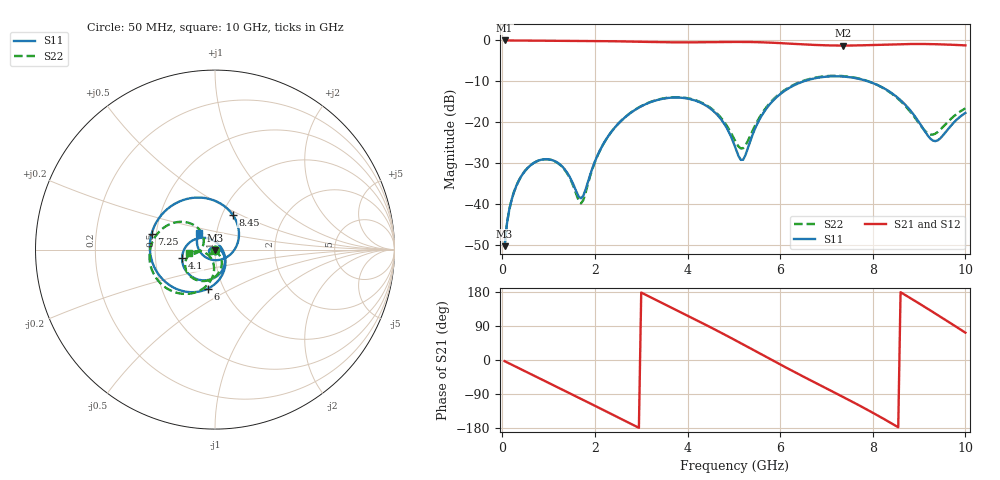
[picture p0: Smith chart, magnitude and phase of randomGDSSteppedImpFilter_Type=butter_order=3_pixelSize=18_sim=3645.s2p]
! freq	dB(S11)	phase(S11)	dB(S12)	phase(S12)
!  dB(S21)	phase(S21)	dB(S22)	phase(S22)
!S-par simulation data
#  GHz  S  DB  R 50
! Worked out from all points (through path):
!   200 points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, 50 MHz to 10 GHz, reference 50 ohm
!   highest |S21| = -0.01 dB at 50 MHz (marker M1); lowest = -1.3 dB at 7.35 GHz (marker M2)
!   group delay of S21, straight-line fit = 177 ps
!   lowest |S11| = -50.3 dB at 50 MHz (marker M3), VSWR 1.01, Z = 50 - j0.302 ohm
!   |S11| at or under -10 dB: start of sweep to 6.507 GHz; 7.897 GHz to end of sweep
!   |S22| runs from -50.3 to -8.6 dB; largest |S21 - S12| = 0
!   S11 on the Smith chart (normalised r, x): 50 MHz: 1.00, -0.01; 4.1 GHz: 0.69, -0.07; 6 GHz: 0.84, -0.39; 7.25 GHz: 0.47, +0.10; 8.45 GHz: 1.12, +0.46; 10 GHz: 0.82, +0.16
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0.05  -50.29 -80.5  -0.01 -3.1  -0.01 -3.1  -50.26 -79.9
0.25  -37.13 -105.0  -0.03 -15.1  -0.03 -15.1  -37.10 -101.7
0.7  -29.80 -137.7  -0.06 -42.3  -0.06 -42.3  -29.80 -127.7
1.2  -29.93 -176.7  -0.09 -72.3  -0.09 -72.3  -29.99 -150.7
1.75  -37.95 55.2  -0.13 -105.6  -0.13 -105.6  -39.02 -84.6
2.35  -22.43 -43.7  -0.20 -142.3  -0.20 -142.3  -22.41 -60.4
2.85  -17.09 -80.7  -0.30 -172.9  -0.30 -172.9  -17.05 -85.0
3.4  -14.41 -118.1  -0.42 153.6  -0.42 153.6  -14.35 -114.0
4.1  -14.47 -165.9  -0.47 111.0  -0.47 111.0  -14.37 -150.0
4.65  -18.28 151.0  -0.41 76.7  -0.41 76.7  -18.00 -172.8
5.05  -26.74 91.8  -0.37 50.9  -0.37 50.9  -25.00 -160.7
5.2  -29.16 27.1  -0.37 41.1  -0.37 41.1  -26.34 -127.5
5.55  -19.40 -58.0  -0.44 18.0  -0.44 18.0  -18.89 -92.6
6  -13.13 -100.1  -0.66 -11.6  -0.66 -11.6  -12.93 -106.7
6.7  -9.38 -153.5  -1.08 -56.3  -1.08 -56.3  -9.24 -141.5
7.25  -8.77 165.9  -1.25 -90.7  -1.25 -90.7  -8.65 -169.3
7.35  -8.82 158.4  -1.26 -97.0  -1.26 -97.0  -8.71 -174.2
8.35  -12.43 73.5  -0.99 -163.3  -0.99 -163.3  -12.53 139.1
8.45  -13.21 63.4  -0.96 -170.4  -0.96 -170.4  -13.35 135.4
8.85  -17.66 15.9  -0.87 160.5  -0.87 160.5  -17.99 128.2
9.3  -24.49 -81.5  -0.91 126.5  -0.91 126.5  -23.02 165.0
10  -17.73 133.3  -1.21 72.1  -1.21 72.1  -16.61 -171.6
